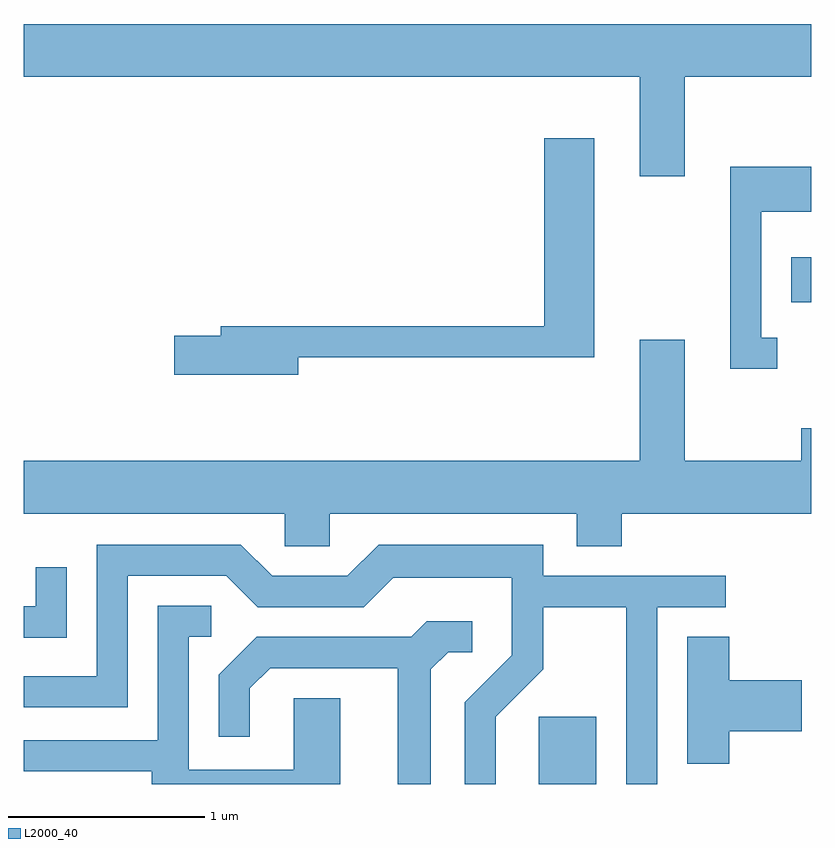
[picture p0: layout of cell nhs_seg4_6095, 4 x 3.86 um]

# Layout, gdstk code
import gdstk
lib = gdstk.Library(unit=1e-6, precision=1e-09)
def R(c, l, rs):  # rectangles x0, y0, x1, y1
    for r in rs: c.add(gdstk.rectangle(r[:2], r[2:], *l))
def P(c, l, *ps):  # polygons
    for p in ps: c.add(gdstk.Polygon(p, *l))
L2000_40 = (2000, 40)

nhs_seg4_6095 = lib.new_cell('nhs_seg4_6095')
R(nhs_seg4_6095, L2000_40, [(366.226,1339.982,366.519,1340.324), (367.511,1342.431,367.611,1342.659)])
P(nhs_seg4_6095, L2000_40, [(363.611,1343.576),(366.741,1343.576),(366.741,1343.071),(366.969,1343.071),(366.969,1343.576),(367.611,1343.576),(367.611,1343.844),(363.611,1343.844)],
  [(365.004,1342.151),(366.509,1342.151),(366.509,1343.264),(366.256,1343.264),(366.256,1342.309),(364.611,1342.309),(364.611,1342.259),(364.376,1342.259),(364.376,1342.061),(365.004,1342.061)],
  [(367.438,1342.249),(367.359,1342.249),(367.359,1342.891),(367.611,1342.891),(367.611,1343.119),(367.201,1343.119),(367.201,1342.091),(367.438,1342.091)],
  [(365.164,1341.356),(366.421,1341.356),(366.421,1341.191),(366.649,1341.191),(366.649,1341.356),(367.611,1341.356),(367.611,1341.789),(367.561,1341.789),(367.561,1341.624),(366.969,1341.624),(366.969,1342.239),(366.741,1342.239),(366.741,1341.624),(363.611,1341.624),(363.611,1341.356),(364.936,1341.356),(364.936,1341.191),(365.164,1341.191)],
  [(366.009,1340.324),(366.249,1340.564),(366.249,1340.881),(366.671,1340.881),(366.671,1339.982),(366.829,1339.982),(366.829,1340.881),(367.178,1340.881),(367.178,1341.039),(366.249,1341.039),(366.249,1341.199),(365.414,1341.199),(365.254,1341.039),(364.872,1341.039),(364.712,1341.199),(363.981,1341.199),(363.981,1340.529),(363.611,1340.529),(363.611,1340.371),(364.139,1340.371),(364.139,1341.041),(364.639,1341.041),(364.799,1340.881),(365.337,1340.881),(365.487,1341.031),(366.091,1341.031),(366.091,1340.637),(365.851,1340.397),(365.851,1339.982),(366.009,1339.982)],
  [(363.829,1341.083),(363.671,1341.083),(363.671,1340.884),(363.611,1340.884),(363.611,1340.726),(363.829,1340.726)],
  [(365.219,1340.419),(364.981,1340.419),(364.981,1340.054),(364.449,1340.054),(364.449,1340.731),(364.563,1340.731),(364.563,1340.889),(364.291,1340.889),(364.291,1340.204),(363.611,1340.204),(363.611,1340.046),(364.261,1340.046),(364.261,1339.982),(365.219,1339.982)],
  [(365.679,1340.564),(365.767,1340.651),(365.888,1340.651),(365.888,1340.809),(365.659,1340.809),(365.579,1340.729),(364.794,1340.729),(364.601,1340.537),(364.601,1340.223),(364.759,1340.223),(364.759,1340.469),(364.862,1340.571),(365.511,1340.571),(365.511,1339.982),(365.679,1339.982)],
  [(367.194,1340.251),(367.564,1340.251),(367.564,1340.509),(367.194,1340.509),(367.194,1340.729),(366.981,1340.729),(366.981,1340.086),(367.194,1340.086)])

lib.write_gds('nhs_seg4_6095.gds')
